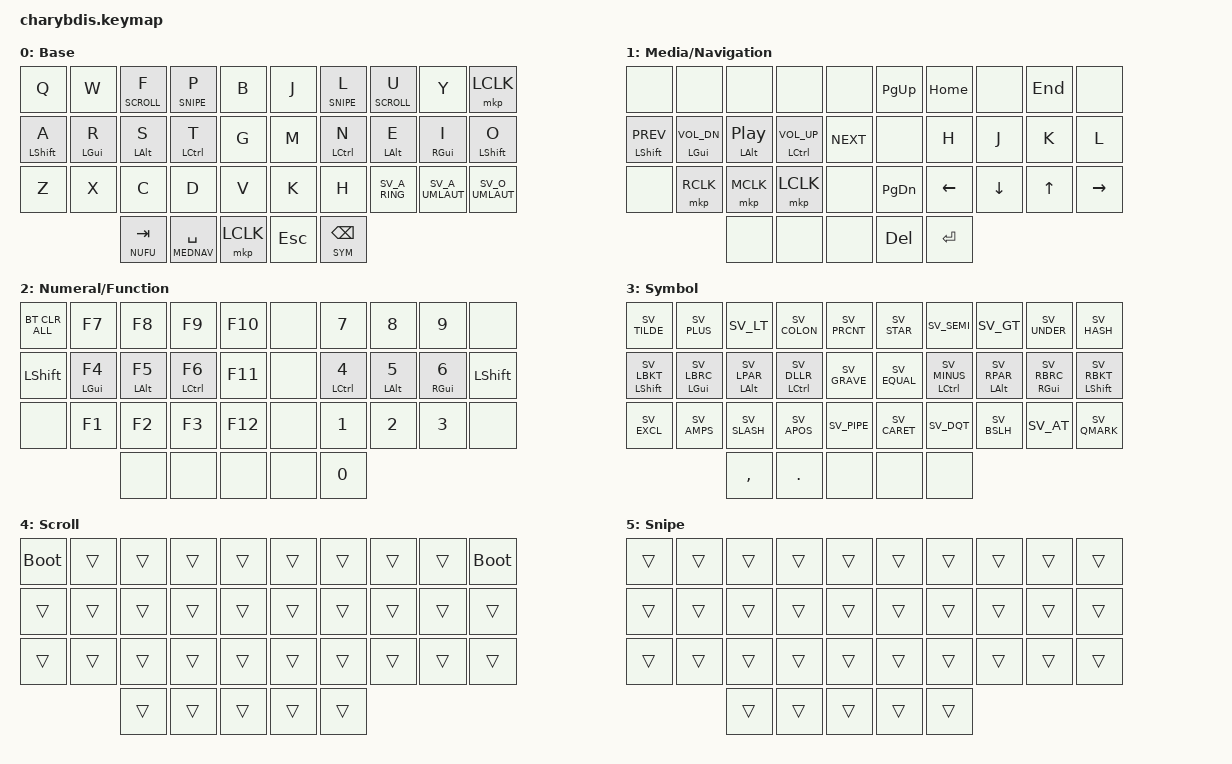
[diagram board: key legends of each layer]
#include <dt-bindings/zmk/mouse.h>
#include <behaviors/mouse_keys.dtsi>
#include <behaviors.dtsi>
#include <dt-bindings/zmk/bt.h>
#include <dt-bindings/zmk/keys.h>
#include <dt-bindings/zmk/reset.h>
#include "keys_sv.h"

#define BASE 0
#define MEDNAV 1
#define NUFU 2
#define SYM 3
#define SCROLL 4
#define SNIPE 5

&sl {
  release-after-ms = <250>;
};

&mt {
    tapping-term-ms = <200>;
    require-prior-idle-ms = <150>;
};

/ {
    chosen { zmk,matrix_transform = &five_column_transform; };

    #include "combos.dtsi"

    behaviors {
        hml: homewrow_mods_left {
            compatible = "zmk,behavior-hold-tap";
            label = "HOMEROW_MODS_LEFT_HAND";
            bindings = <&kp>, <&kp>;

            #binding-cells = <2>;
            tapping-term-ms = <200>;
            hold-trigger-key-positions = <5 6 7 8 9 15 16 17 18 19 25 26 27 28 29 33 34>;
            flavor = "balanced";
            quick-tap-ms = <175>;
            require-prior-idle-ms = <125>;
            hold-trigger-on-release;
        };

        hmr: homewrow_mods_right {
            compatible = "zmk,behavior-hold-tap";
            label = "HOMEROW_MODS_RIGHT_HAND";
            bindings = <&kp>, <&kp>;

            #binding-cells = <2>;
            tapping-term-ms = <200>;
            hold-trigger-key-positions = <0 1 2 3 4 10 11 12 13 14 20 21 22 23 24 30 31 32>;
            flavor = "balanced";
            quick-tap-ms = <175>;
            require-prior-idle-ms = <125>;
            hold-trigger-on-release;
        };
    };


    keymap {
        compatible = "zmk,keymap";
        Base {
            label = "Base";
            bindings = <
                &kp Q         &kp W         &lt SCROLL F  &lt SNIPE P       &kp B          &kp J    &lt SNIPE L   &lt SCROLL U   &kp Y            &mkp LCLK
                &hml LSHFT A  &hml LGUI R   &hml LALT S   &hml LCTRL T      &kp G          &kp M    &hmr LCTRL N  &hmr LALT E    &hmr RGUI I      &hmr LSHFT O
                &kp Z         &kp X         &kp C         &kp D             &kp V          &kp K    &kp H         &kp SV_A_RING  &kp SV_A_UMLAUT  &kp SV_O_UMLAUT
                                            &lt NUFU TAB  &lt MEDNAV SPACE  &mkp LCLK      &kp ESC  &lt SYM BSPC
            >;
        };

        MedNav  {
            label = "Media/Navigation";
            bindings = <
                &none              &none                &none                   &none                 &none        &kp PAGE_UP    &kp HOME  &none      &kp END  &none
                &hml LSHFT C_PREV  &hml LGUI C_VOL_DN   &hml LALT C_PLAY_PAUSE  &hml LCTRL C_VOL_UP   &kp C_NEXT   &none          &kp H     &kp J      &kp K    &kp L
                &none              &mkp RCLK            &mkp MCLK               &mkp LCLK             &none        &kp PAGE_DOWN  &kp LEFT  &kp DOWN   &kp UP   &kp RIGHT
                                                        &none                   &none                 &none        &kp DELETE     &kp ENTER
            >;
        };

        NuFu {
            label = "Numeral/Function";
            bindings = <
                &bt BT_CLR_ALL  &kp F7         &kp F8         &kp F9          &kp F10      &none        &kp N7         &kp N8        &kp N9        &none
                &kp LSHFT       &hml LGUI F4   &hml LALT F5   &hml LCTRL F6   &kp F11      &none        &hmr LCTRL N4  &hmr LALT N5  &hmr RGUI N6  &kp LSHFT
                &none           &kp F1         &kp F2         &kp F3          &kp F12      &none        &kp N1         &kp N2        &kp N3        &none
                                               &none          &none           &none        &none        &kp N0
            >;
        };

        Symbol {
            label = "Symbol";
            bindings = <
                &kp SV_TILDE        &kp SV_PLUS        &kp SV_LT          &kp SV_COLON        &kp SV_PRCNT     &kp SV_STAR   &kp SV_SEMI          &kp SV_GT          &kp SV_UNDER       &kp SV_HASH
                &hml LSHFT SV_LBKT  &hml LGUI SV_LBRC  &hml LALT SV_LPAR  &hml LCTRL SV_DLLR  &kp SV_GRAVE     &kp SV_EQUAL  &hmr LCTRL SV_MINUS  &hmr LALT SV_RPAR  &hmr RGUI SV_RBRC  &hmr LSHFT SV_RBKT
                &kp SV_EXCL         &kp SV_AMPS        &kp SV_SLASH       &kp SV_APOS         &kp SV_PIPE      &kp SV_CARET  &kp SV_DQT           &kp SV_BSLH        &kp SV_AT          &kp SV_QMARK
                                                       &kp COMMA          &kp DOT             &none            &none         &none
            >;
        };

        Scroll {
            label = "Scroll";
            bindings = <
                &bootloader  &trans  &trans  &trans  &trans     &trans  &trans  &trans  &trans  &bootloader
                &trans       &trans  &trans  &trans  &trans     &trans  &trans  &trans  &trans  &trans
                &trans       &trans  &trans  &trans  &trans     &trans  &trans  &trans  &trans  &trans
                                &trans  &trans  &trans     &trans  &trans
            >;
        };

        Snipe {
            label = "Snipe";
            bindings = <
                &trans  &trans  &trans  &trans  &trans     &trans  &trans  &trans  &trans  &trans
                &trans  &trans  &trans  &trans  &trans     &trans  &trans  &trans  &trans  &trans
                &trans  &trans  &trans  &trans  &trans     &trans  &trans  &trans  &trans  &trans
                                &trans  &trans  &trans     &trans  &trans
            >;
        };
    };
};
